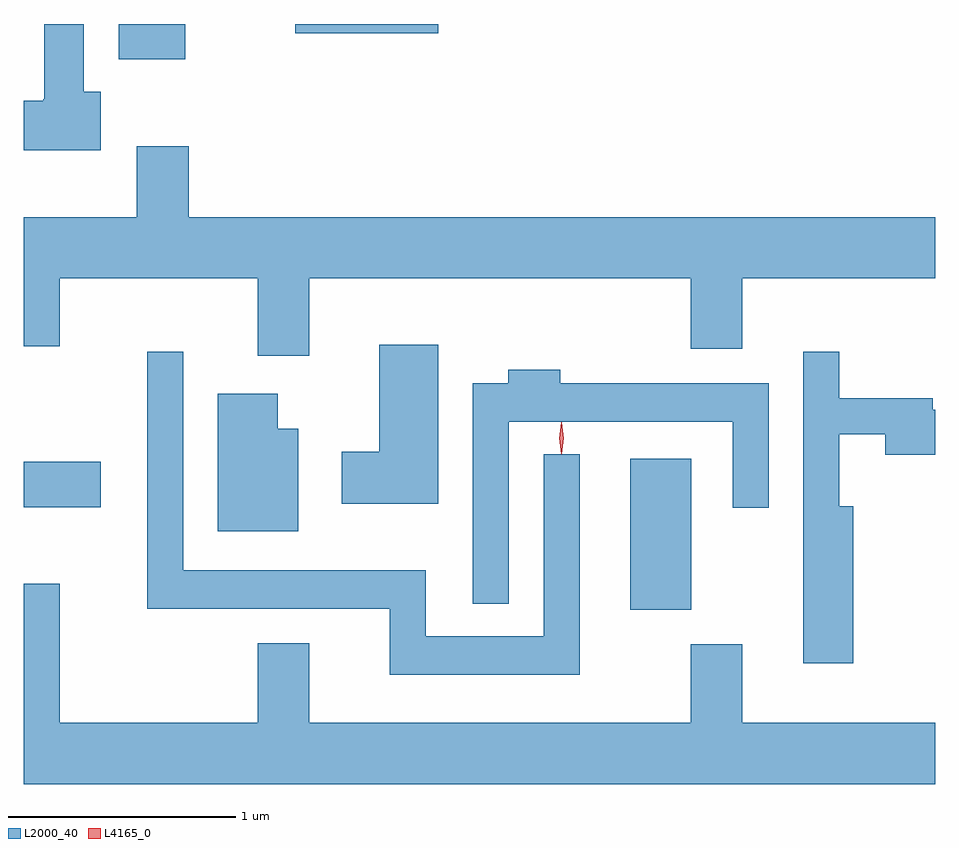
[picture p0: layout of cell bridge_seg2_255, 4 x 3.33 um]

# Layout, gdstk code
import gdstk
lib = gdstk.Library(unit=1e-6, precision=1e-09)
def R(c, l, rs):  # rectangles x0, y0, x1, y1
    for r in rs: c.add(gdstk.rectangle(r[:2], r[2:], *l))
def P(c, l, *ps):  # polygons
    for p in ps: c.add(gdstk.Polygon(p, *l))
L2000_40 = (2000, 40)
L4165_0 = (4165, 0)

bridge_seg2_255 = lib.new_cell('bridge_seg2_255')
R(bridge_seg2_255, L2000_40, [(637.426,1075.721,637.694,1076.384), (634.765,1076.171,635.104,1076.369), (635.181,1078.136,635.474,1078.291), (635.956,1078.251,636.584,1078.291)])
P(bridge_seg2_255, L2000_40, [(635.104,1077.994),(635.029,1077.994),(635.029,1078.291),(634.856,1078.291),(634.856,1077.96),(634.85,1077.96),(634.85,1077.954),(634.765,1077.954),(634.765,1077.736),(635.104,1077.736)],
  [(636.019,1077.176),(637.691,1077.176),(637.691,1076.866),(637.919,1076.866),(637.919,1077.176),(638.765,1077.176),(638.765,1077.444),(635.489,1077.444),(635.489,1077.754),(635.261,1077.754),(635.261,1077.444),(634.765,1077.444),(634.765,1076.876),(634.924,1076.876),(634.924,1077.176),(635.791,1077.176),(635.791,1076.836),(636.019,1076.836)],
  [(636.584,1076.884),(636.326,1076.884),(636.326,1076.414),(636.161,1076.414),(636.161,1076.186),(636.584,1076.186)],
  [(637.204,1076.403),(637.046,1076.403),(637.046,1075.604),(636.529,1075.604),(636.529,1075.894),(635.464,1075.894),(635.464,1076.853),(635.306,1076.853),(635.306,1075.726),(636.371,1075.726),(636.371,1075.436),(637.204,1075.436)],
  [(638.404,1076.174),(638.344,1076.174),(638.344,1076.491),(638.546,1076.491),(638.546,1076.401),(638.765,1076.401),(638.765,1076.599),(638.754,1076.599),(638.754,1076.649),(638.344,1076.649),(638.344,1076.853),(638.186,1076.853),(638.186,1075.486),(638.404,1075.486)],
  [(636.894,1076.546),(637.876,1076.546),(637.876,1076.168),(638.034,1076.168),(638.034,1076.714),(637.119,1076.714),(637.119,1076.774),(636.891,1076.774),(636.891,1076.714),(636.736,1076.714),(636.736,1075.748),(636.894,1075.748)],
  [(635.969,1076.514),(635.879,1076.514),(635.879,1076.669),(635.616,1076.669),(635.616,1076.066),(635.969,1076.066)],
  [(638.765,1075.224),(637.919,1075.224),(637.919,1075.569),(637.691,1075.569),(637.691,1075.224),(636.019,1075.224),(636.019,1075.574),(635.791,1075.574),(635.791,1075.224),(634.924,1075.224),(634.924,1075.834),(634.765,1075.834),(634.765,1074.956),(638.765,1074.956)])
P(bridge_seg2_255, L4165_0, [(637.124,1076.404),(637.124,1076.404),(637.114,1076.474),(637.124,1076.543),(637.124,1076.543),(637.125,1076.543),(637.134,1076.474),(637.125,1076.404)])

lib.write_gds('bridge_seg2_255.gds')
